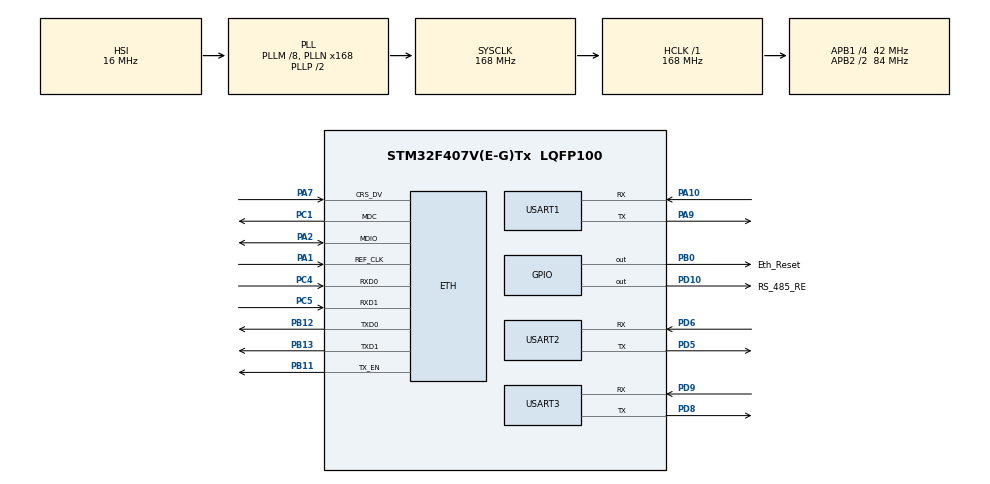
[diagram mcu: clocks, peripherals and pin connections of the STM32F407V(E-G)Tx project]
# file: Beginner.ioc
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Dma.Request0=USART1_RX
Dma.Request1=USART1_TX
Dma.USART1_RX.0.Direction=DMA_PERIPH_TO_MEMORY
Dma.USART1_RX.0.FIFOMode=DMA_FIFOMODE_DISABLE
Dma.USART1_RX.0.Instance=DMA2_Stream2
Dma.USART1_RX.0.MemDataAlignment=DMA_MDATAALIGN_BYTE
Dma.USART1_RX.0.MemInc=DMA_MINC_ENABLE
Dma.USART1_RX.0.Mode=DMA_NORMAL
Dma.USART1_RX.0.PeriphDataAlignment=DMA_PDATAALIGN_BYTE
Dma.USART1_RX.0.PeriphInc=DMA_PINC_DISABLE
Dma.USART1_RX.0.Priority=DMA_PRIORITY_LOW
Dma.USART1_TX.1.Direction=DMA_MEMORY_TO_PERIPH
Dma.USART1_TX.1.FIFOMode=DMA_FIFOMODE_DISABLE
Dma.USART1_TX.1.Instance=DMA2_Stream7
Dma.USART1_TX.1.MemDataAlignment=DMA_MDATAALIGN_BYTE
Dma.USART1_TX.1.MemInc=DMA_MINC_ENABLE
Dma.USART1_TX.1.Mode=DMA_NORMAL
Dma.USART1_TX.1.PeriphDataAlignment=DMA_PDATAALIGN_BYTE
Dma.USART1_TX.1.PeriphInc=DMA_PINC_DISABLE
Dma.USART1_TX.1.Priority=DMA_PRIORITY_LOW
ETH.MediaInterface=HAL_ETH_RMII_MODE
FREERTOS.Tasks01=defaultTask,24,1024,StartDefaultTask,Default,NULL,Dynamic,NULL,NULL
FREERTOS.configGENERATE_RUN_TIME_STATS=1
FREERTOS.configRECORD_STACK_HIGH_ADDRESS=1
FREERTOS.configTOTAL_HEAP_SIZE=58982
FREERTOS.configUSE_NEWLIB_REENTRANT=1
FREERTOS.configUSE_STATS_FORMATTING_FUNCTIONS=1
LWIP.BSP.number=1
LWIP.IP_ADDRESS=192.168.010.008
LWIP.LWIP_DHCP=0
LWIP.NETMASK_ADDRESS=255.255.255.000
LWIP.Version=v2.1.2_Cube
LWIP0.BSP.STBoard=false
LWIP0.BSP.api=BSP_COMPONENT_DRIVER
LWIP0.BSP.component=LAN8742
LWIP0.BSP.instance=LAN8742
LWIP0.BSP.name=Driver_PHY
LWIP0.BSP.semaphore=S_LAN8742
LWIP0.BSP.solution=LAN8742
Mcu.Family=STM32F4
Mcu.Name=STM32F407V(E-G)Tx
Mcu.Package=LQFP100
NVIC.DMA2_Stream2_IRQn=true\:5\:0\:false\:false\:true\:true\:false\:true\:true
NVIC.DMA2_Stream7_IRQn=true\:5\:0\:false\:false\:true\:true\:false\:true\:true
NVIC.ETH_IRQn=true\:5\:0\:false\:false\:true\:true\:false\:true\:true
NVIC.PriorityGroup=NVIC_PRIORITYGROUP_4
NVIC.TIM3_IRQn=true\:15\:0\:false\:false\:true\:false\:false\:true\:true
NVIC.TimeBase=TIM3_IRQn
NVIC.TimeBaseIP=TIM3
NVIC.USART1_IRQn=true\:5\:0\:false\:false\:true\:true\:true\:true\:true
NVIC.USART3_IRQn=true\:5\:0\:false\:false\:true\:true\:true\:true\:true
PA1.Mode=RMII
PA1.Signal=ETH_REF_CLK
PA10.Mode=Asynchronous
PA10.Signal=USART1_RX
PA13.Mode=Serial_Wire
PA13.Signal=SYS_JTMS-SWDIO
PA14.Mode=Serial_Wire
PA14.Signal=SYS_JTCK-SWCLK
PA2.Mode=RMII
PA2.Signal=ETH_MDIO
PA7.Mode=RMII
PA7.Signal=ETH_CRS_DV
PA9.Mode=Asynchronous
PA9.Signal=USART1_TX
PB0.GPIO_Label=Eth_Reset
PB0.GPIO_Speed=GPIO_SPEED_FREQ_VERY_HIGH
PB0.PinState=GPIO_PIN_SET
PB0.Signal=GPIO_Output
PB11.Mode=RMII
PB11.Signal=ETH_TX_EN
PB12.Mode=RMII
PB12.Signal=ETH_TXD0
PB13.Mode=RMII
PB13.Signal=ETH_TXD1
PC1.Mode=RMII
PC1.Signal=ETH_MDC
PC14-OSC32_IN.Mode=LSE-External-Oscillator
PC14-OSC32_IN.Signal=RCC_OSC32_IN
PC15-OSC32_OUT.Mode=LSE-External-Oscillator
PC15-OSC32_OUT.Signal=RCC_OSC32_OUT
PC4.Mode=RMII
PC4.Signal=ETH_RXD0
PC5.Mode=RMII
PC5.Signal=ETH_RXD1
PD10.GPIO_Label=RS_485_RE
PD10.GPIO_Speed=GPIO_SPEED_FREQ_VERY_HIGH
PD10.Signal=GPIO_Output
PD5.Mode=Asynchronous
PD5.Signal=USART2_TX
PD6.Mode=Asynchronous
PD6.Signal=USART2_RX
PD8.Mode=Asynchronous
PD8.Signal=USART3_TX
PD9.Mode=Asynchronous
PD9.Signal=USART3_RX
PH0-OSC_IN.Mode=HSE-External-Oscillator
PH0-OSC_IN.Signal=RCC_OSC_IN
PH1-OSC_OUT.Mode=HSE-External-Oscillator
PH1-OSC_OUT.Signal=RCC_OSC_OUT
ProjectManager.HeapSize=0x200
ProjectManager.StackSize=0x400
ProjectManager.TargetToolchain=STM32CubeIDE
RCC.48MHZClocksFreq_Value=84000000
RCC.AHBFreq_Value=168000000
RCC.APB1CLKDivider=RCC_HCLK_DIV4
RCC.APB1Freq_Value=42000000
RCC.APB1TimFreq_Value=84000000
RCC.APB2CLKDivider=RCC_HCLK_DIV2
RCC.APB2Freq_Value=84000000
RCC.APB2TimFreq_Value=168000000
RCC.CortexFreq_Value=168000000
RCC.HCLKFreq_Value=168000000
RCC.HSE_VALUE=8000000
RCC.HSI_VALUE=16000000
RCC.PLLM=8
RCC.PLLN=168
RCC.SYSCLKFreq_VALUE=168000000
RCC.SYSCLKSource=RCC_SYSCLKSOURCE_PLLCLK
RCC.VCOOutputFreq_Value=336000000
USART1.VirtualMode=VM_ASYNC
USART2.VirtualMode=VM_ASYNC
USART3.VirtualMode=VM_ASYNC
VP_FREERTOS_VS_CMSIS_V2.Mode=CMSIS_V2
VP_LWIP_VS_Enabled.Mode=Enabled
VP_SYS_VS_tim3.Mode=TIM3
board=custom

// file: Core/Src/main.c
/* USER CODE BEGIN Header */
/**
  ******************************************************************************
  * @file           : main.c
  * @brief          : Main program body
  ******************************************************************************
  * @attention
  *
  * Copyright (c) 2025 STMicroelectronics.
  * All rights reserved.
  *
  * This software is licensed under terms that can be found in the LICENSE file
  * in the root directory of this software component.
  * If no LICENSE file comes with this software, it is provided AS-IS.
  *
  ******************************************************************************
  */
/* USER CODE END Header */
#include "main.h"
#include "cmsis_os.h"
#include "dma.h"
#include "lwip.h"
#include "usart.h"
#include "gpio.h"

/* USER CODE BEGIN PV */
#ifdef __GNUC__
#define PUTCHAR_PROTOTYPE int __io_putchar(int ch)
#else
#define PUTCHAR_PROTOTYPE int fputc(int ch, FILE *f)
#endif

PUTCHAR_PROTOTYPE
{
    HAL_UART_Transmit(&huart1, (uint8_t *)&ch, 1, HAL_MAX_DELAY);
    return ch;
}

/**
  * Override default HAL_GetTick function
  */
uint32_t HAL_GetTick(void) {
    static uint32_t ticks = 0U;
    uint32_t i;

    if (osKernelGetState() == osKernelRunning) {
        return ((uint32_t)osKernelGetTickCount());
    }

    /* If Kernel is not running wait approximately 1 ms then increment
       and return auxiliary tick counter value */
    for (i = (SystemCoreClock >> 14U); i > 0U; i--) {
        __NOP(); __NOP(); __NOP(); __NOP(); __NOP(); __NOP();
        __NOP(); __NOP(); __NOP(); __NOP(); __NOP(); __NOP();
    }
    return ++ticks;
}
/* USER CODE END PV */

void SystemClock_Config(void);
void MX_FREERTOS_Init(void);

int main(void)
{

  /* MCU Configuration--------------------------------------------------------*/

  /* Reset of all peripherals, Initializes the Flash interface and the Systick. */
  HAL_Init();

  /* Configure the system clock */
  SystemClock_Config();

  /* Initialize all configured peripherals */
  MX_GPIO_Init();
  MX_DMA_Init();
  MX_USART1_UART_Init();
  MX_USART2_UART_Init();
  MX_USART3_UART_Init();

  /* Init scheduler */
  osKernelInitialize();

  /* Call init function for freertos objects (in cmsis_os2.c) */
  MX_FREERTOS_Init();

  /* Start scheduler */
  osKernelStart();

  /* We should never get here as control is now taken by the scheduler */

  /* Infinite loop */
  while (1)
  {

    /* USER CODE BEGIN 3 */
	  printf("test uart1\n");
	  HAL_Delay(1000);
  }
  /* USER CODE END 3 */
}

void SystemClock_Config(void)
{
  RCC_OscInitTypeDef RCC_OscInitStruct = {0};
  RCC_ClkInitTypeDef RCC_ClkInitStruct = {0};

  /** Configure the main internal regulator output voltage
  */
  __HAL_RCC_PWR_CLK_ENABLE();
  __HAL_PWR_VOLTAGESCALING_CONFIG(PWR_REGULATOR_VOLTAGE_SCALE1);

  /** Initializes the RCC Oscillators according to the specified parameters
  * in the RCC_OscInitTypeDef structure.
  */
  RCC_OscInitStruct.OscillatorType = RCC_OSCILLATORTYPE_HSI;
  RCC_OscInitStruct.HSIState = RCC_HSI_ON;
  RCC_OscInitStruct.HSICalibrationValue = RCC_HSICALIBRATION_DEFAULT;
  RCC_OscInitStruct.PLL.PLLState = RCC_PLL_ON;
  RCC_OscInitStruct.PLL.PLLSource = RCC_PLLSOURCE_HSI;
  RCC_OscInitStruct.PLL.PLLM = 8;
  RCC_OscInitStruct.PLL.PLLN = 168;
  RCC_OscInitStruct.PLL.PLLP = RCC_PLLP_DIV2;
  RCC_OscInitStruct.PLL.PLLQ = 4;
  if (HAL_RCC_OscConfig(&RCC_OscInitStruct) != HAL_OK)
  {
    Error_Handler();
  }

  /** Initializes the CPU, AHB and APB buses clocks
  */
  RCC_ClkInitStruct.ClockType = RCC_CLOCKTYPE_HCLK|RCC_CLOCKTYPE_SYSCLK
                              |RCC_CLOCKTYPE_PCLK1|RCC_CLOCKTYPE_PCLK2;
  RCC_ClkInitStruct.SYSCLKSource = RCC_SYSCLKSOURCE_PLLCLK;
  RCC_ClkInitStruct.AHBCLKDivider = RCC_SYSCLK_DIV1;
  RCC_ClkInitStruct.APB1CLKDivider = RCC_HCLK_DIV4;
  RCC_ClkInitStruct.APB2CLKDivider = RCC_HCLK_DIV2;

  if (HAL_RCC_ClockConfig(&RCC_ClkInitStruct, FLASH_LATENCY_5) != HAL_OK)
  {
    Error_Handler();
  }
}

void HAL_TIM_PeriodElapsedCallback(TIM_HandleTypeDef *htim)
{
  if (htim->Instance == TIM3)
  {
    HAL_IncTick();
  }
}

void Error_Handler(void)
{
  __disable_irq();
  while (1)
  {
  }
}

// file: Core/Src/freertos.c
/* USER CODE BEGIN Header */
/**
  ******************************************************************************
  * File Name          : freertos.c
  * Description        : Code for freertos applications
  ******************************************************************************
  * @attention
  *
  * Copyright (c) 2025 STMicroelectronics.
  * All rights reserved.
  *
  * This software is licensed under terms that can be found in the LICENSE file
  * in the root directory of this software component.
  * If no LICENSE file comes with this software, it is provided AS-IS.
  *
  ******************************************************************************
  */
/* USER CODE END Header */

#include "FreeRTOS.h"
#include "task.h"
#include "main.h"
#include "cmsis_os.h"

/* USER CODE BEGIN Includes */
#include "usart.h"
/* USER CODE END Includes */

/* Definitions for defaultTask */
osThreadId_t defaultTaskHandle;
const osThreadAttr_t defaultTask_attributes = {
  .name = "defaultTask",
  .stack_size = 1024 * 4,
  .priority = (osPriority_t) osPriorityNormal,
};

void StartDefaultTask(void *argument);

extern void MX_LWIP_Init(void);
void MX_FREERTOS_Init(void); /* (MISRA C 2004 rule 8.1) */

/* Hook prototypes */
void configureTimerForRunTimeStats(void);
unsigned long getRunTimeCounterValue(void);

/* USER CODE BEGIN 1 */
/* Functions needed when configGENERATE_RUN_TIME_STATS is on */
__weak void configureTimerForRunTimeStats(void)
{

}

__weak unsigned long getRunTimeCounterValue(void)
{
return 0;
}
/* USER CODE END 1 */

void MX_FREERTOS_Init(void) {

  /* Create the thread(s) */
  /* creation of defaultTask */
  defaultTaskHandle = osThreadNew(StartDefaultTask, NULL, &defaultTask_attributes);

  /* USER CODE BEGIN RTOS_THREADS */
  /* add threads, ... */
    print_daemon_init();
  /* USER CODE END RTOS_THREADS */

}

void StartDefaultTask(void *argument)
{
  /* init code for LWIP */
  MX_LWIP_Init();
  /* USER CODE BEGIN StartDefaultTask */
    osDelay(1000);
    mbport_serial_t* port_serial = mbport_serial_create(3);
    modbus_t *mb = modbus_create(MODBUS_MODE_RTU, (void*)&(port_serial->parent));
    modbus_set_slave(mb, 0x01);
    modbus_set_recvtmo(mb, 500); // 500ms timeout
    // connect
    if (modbus_connect(mb) != MB_ENOERR) {
        Error_Handler();
        printf_rtos("modbus_connect error\n");
    }
    printf_rtos("modbus_connect success\n");

  /* Infinite loop */
  for(;;)
  {
      mb_uint16_t reg_value;
      // test: read address 0x00 ,1 word
      mb_err_t err_t = modbus_read_holding_regs(mb, 0x00, 0x01, &reg_value);
      if (err_t == MB_ENOERR) {
          printf_rtos("Read register value: %d\n", reg_value);
      } else {
          printf_rtos("Error: %s\n", modbus_strerr(err_t));
      }
    osDelay(pdMS_TO_TICKS(4000));
  }

  /* USER CODE END StartDefaultTask */
}
